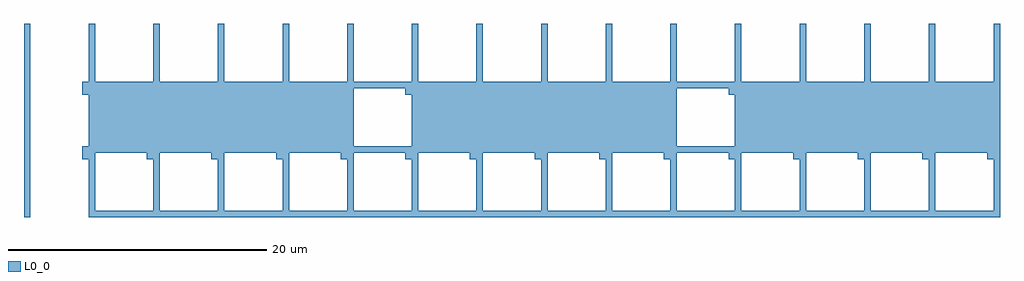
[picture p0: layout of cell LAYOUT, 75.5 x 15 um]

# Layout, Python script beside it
import gdspy

# Define units for the layout (e.g., micrometers)
unit = 1.0e-6
precision = 1.0e-9

# Create a new GDS library
lib = gdspy.GdsLibrary(unit=unit, precision=precision)

# Create a new cell in the library
cell = lib.new_cell('LAYOUT')

# Define the active region dimensions
active_width = 20.0
active_height = 5.0
spacing = 5.0

# Draw three rectangular active regions
for i in range(3):
    x_offset = i * (active_width + spacing)
    active_region = gdspy.Rectangle((x_offset, 0), 
                                    (x_offset + active_width, active_height))
    cell.add(active_region)

# Define the polysilicon gate pattern dimensions and properties
poly_line_width = 0.5
grid_spacing = 5.0

# Calculate the grid boundaries based on active regions
x_max = 3 * (active_width + spacing) - spacing
y_max = active_height

# Create vertical polysilicon gate lines
x_start = -grid_spacing
while x_start < x_max + grid_spacing:
    poly_vertical = gdspy.Rectangle((x_start, -grid_spacing),
                                    (x_start + poly_line_width, y_max + grid_spacing))
    cell.add(poly_vertical)
    x_start += grid_spacing

# Create horizontal polysilicon gate lines
y_start = -grid_spacing
while y_start < y_max + grid_spacing:
    poly_horizontal = gdspy.Rectangle((0, y_start),
                                      (x_max, y_start + poly_line_width))
    cell.add(poly_horizontal)
    y_start += grid_spacing

# Define contact hole dimensions
contact_width = 1.0
contact_height = 1.0

# Add contact holes at the intersections of the polysilicon gate pattern and active regions
for i in range(3):
    x_offset = i * (active_width + spacing)
    for j in range(5):
        contact_x = x_offset + j * grid_spacing
        for k in range(int(y_max // grid_spacing) + 1):
            contact_y = k * grid_spacing
            contact_hole = gdspy.Rectangle((contact_x - contact_width / 2,
                                            contact_y - contact_height / 2),
                                           (contact_x + contact_width / 2,
                                            contact_y + contact_height / 2))
            cell.add(contact_hole)

# Write the layout to a GDS file
lib.write_gds('layout.gds')

print("GDS layout generated and saved to 'layout.gds'.")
